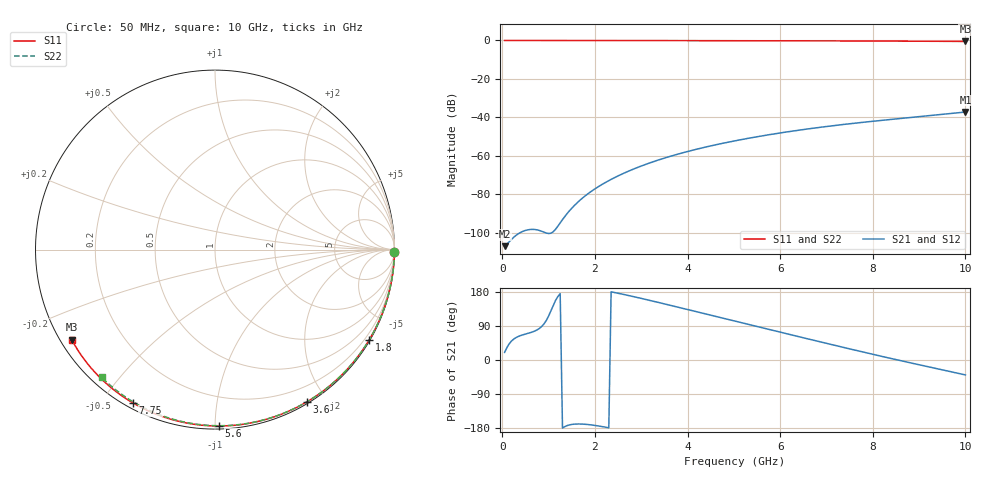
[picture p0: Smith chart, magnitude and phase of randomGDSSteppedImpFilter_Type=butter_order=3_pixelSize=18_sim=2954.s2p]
! freq	dB(S11)	phase(S11)	dB(S12)	phase(S12)
!  dB(S21)	phase(S21)	dB(S22)	phase(S22)
!S-par simulation data
#  GHz  S  DB  R 50
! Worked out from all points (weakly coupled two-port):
!   200 points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, 50 MHz to 10 GHz, reference 50 ohm
!   highest |S21| = -37.25 dB at 10 GHz (marker M1); lowest = -107.1 dB at 50 MHz (marker M2)
!   lowest |S11| = -0.5 dB at 10 GHz (marker M3), VSWR 34.06, Z = 1.59 - j14.4 ohm
!   |S11| at or under -10 dB: nowhere
!   |S22| runs from -0.4 to 0.0 dB; largest |S21 - S12| = 0
!   S11 on the Smith chart (normalised r, x): 50 MHz: open; 1.8 GHz: 0.03, -3.70; 3.6 GHz: 0.02, -1.77; 5.6 GHz: 0.02, -1.02; 7.75 GHz: 0.02, -0.60; 10 GHz: 0.03, -0.29
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0.05  -0.00 -0.9  -107.09 20.1  -107.09 20.1  -0.00 -0.8
0.45  -0.01 -7.7  -99.32 66.7  -99.32 66.7  -0.00 -6.8
0.9  -0.02 -15.3  -99.80 95.1  -99.80 95.1  -0.01 -13.6
1.75  -0.04 -29.4  -81.68 -169.3  -81.68 -169.3  -0.03 -26.2
1.8  -0.04 -30.2  -80.71 -169.7  -80.71 -169.7  -0.03 -26.9
1.85  -0.04 -31.1  -79.80 -170.3  -79.80 -170.3  -0.04 -27.7
2  -0.04 -33.5  -77.27 -172.6  -77.27 -172.6  -0.04 -29.9
2.15  -0.05 -36.0  -75.01 -175.5  -75.01 -175.5  -0.04 -32.1
2.35  -0.05 -39.2  -72.32 179.9  -72.32 179.9  -0.05 -35.0
2.55  -0.05 -42.4  -69.94 174.9  -69.94 174.9  -0.05 -37.8
2.95  -0.06 -48.8  -65.83 164.0  -65.83 164.0  -0.06 -43.6
3.4  -0.07 -55.9  -62.00 151.1  -62.00 151.1  -0.07 -49.9
3.6  -0.08 -59.0  -60.50 145.2  -60.50 145.2  -0.07 -52.7
4.3  -0.10 -69.6  -56.01 124.3  -56.01 124.3  -0.09 -62.3
5.05  -0.12 -80.7  -52.12 101.8  -52.12 101.8  -0.11 -72.2
5.6  -0.15 -88.6  -49.71 85.4  -49.71 85.4  -0.13 -79.3
6.15  -0.17 -96.4  -47.60 69.0  -47.60 69.0  -0.15 -86.3
6.7  -0.20 -104.0  -45.73 52.8  -45.73 52.8  -0.18 -93.1
7.75  -0.27 -118.1  -42.70 22.2  -42.70 22.2  -0.24 -105.7
8.35  -0.32 -126.1  -41.21 5.2  -41.21 5.2  -0.29 -112.7
9.2  -0.41 -137.3  -39.23 -17.9  -39.23 -17.9  -0.36 -122.5
10  -0.51 -147.9  -37.25 -39.4  -37.25 -39.4  -0.43 -131.6
